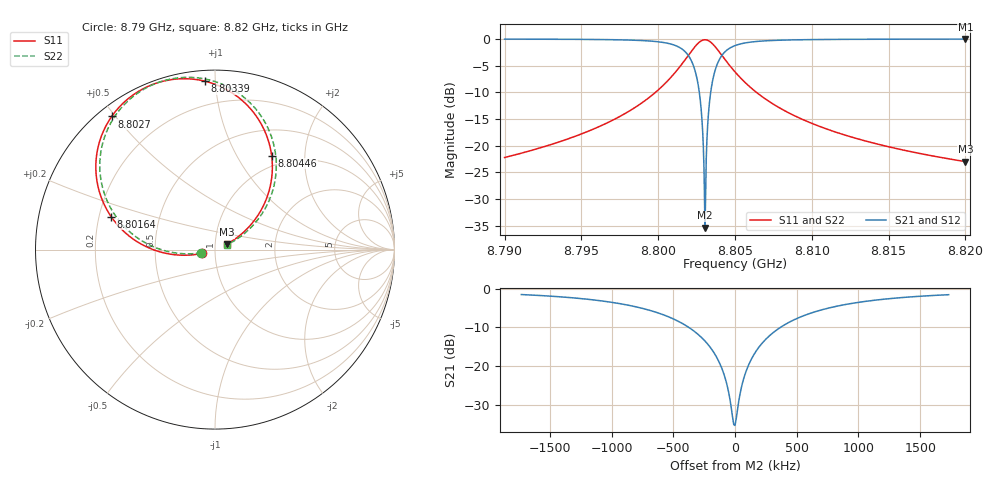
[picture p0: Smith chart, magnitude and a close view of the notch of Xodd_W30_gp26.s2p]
! Sonnet Data File
! From: emgraph Version : 16.52
! From Project: Qubit_Xmon2
! Data is De-embedded
! Data File Written: 10/18/2017 13:35:04
!< HDATE 10/18/2017 12:09:35
!< MDATE 10/18/2017 12:09:35
!< PARAMS
!< Lj = 11.0
!< Gap = 26.0
!< Pwid = 2000.0
!< Airgap = 18.0
!< Width = 30.0
!< END PARAMS
# GHZ S MA R 41.17000
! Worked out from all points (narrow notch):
!   3001 points, 8.79 GHz to 8.82 GHz, reference 41.17 ohm
!   highest |S21| = -0.02 dB at 8.82 GHz (marker M1); lowest = -35.4 dB at 8.80305 GHz (marker M2)
!   notch at M2: 35.3 dB deep, 289 kHz wide at half that depth
!   lowest |S11| = -23.0 dB at 8.82 GHz (marker M3), VSWR 1.15, Z = 46.8 + j2.75 ohm
!   |S11| at or under -10 dB: start of sweep to 8.799829 GHz; 8.806389 GHz to end of sweep
!   |S22| runs from -23.0 to -0.1 dB; largest |S21 - S12| = 0
!   S11 on the Smith chart (normalised r, x): 8.79 GHz: 0.86, -0.04; 8.80164 GHz: 0.25, +0.15; 8.8027 GHz: 0.04, +0.49; 8.80339 GHz: 0.06, +0.94; 8.80446 GHz: 0.84, +1.41; 8.82 GHz: 1.14, +0.07
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8.79  0.0773 -163.8  0.9969 -75.2  0.9969 -75.2  0.0773 -166.7
!< P1 F=8.79 Eeff=(4.89767601 -6.0965e-5) Z0=(41.1732234 -1.5591e-4) R=0.0 C=0.0
!< P2 F=8.79 Eeff=(4.89767601 -6.0965e-5) Z0=(41.1732234 -1.5591e-4) R=0.0 C=0.0
8.795  0.1286 -166.9  0.9914 -78.2  0.9914 -78.2  0.1286 -169.7
8.79802  0.2068 -171.6  0.9776 -82.7  0.9776 -82.7  0.2068 -174.3
8.8  0.3323 -179.2  0.9411 -90.2  0.9411 -90.2  0.3323 178.0
8.80097  0.4604 172.6  0.8835 -98.2  0.8835 -98.2  0.4604 169.9
8.80164  0.6074 162.4  0.7864 -108.2  0.7864 -108.2  0.6074 159.6
8.8023  0.8158 144.4  0.5583 -125.5  0.5583 -125.5  0.8158 141.7
8.8027  0.9389 127.8  0.2976 -140.5  0.2976 -140.5  0.9389 125.1
8.80283  0.9653 121.5  0.1913 -145.0  0.1913 -145.0  0.9653 118.8
8.80295  0.9797 115.4  0.08747 -145.0  0.08747 -145.0  0.9797 112.7
8.80305  0.9834 110.3  0.017 -58.7  0.017 -58.7  0.9834 107.6
8.80314  0.9799 105.7  0.08573 3.2  0.08573 3.2  0.9799 103.0
8.80327  0.9642 99.1  0.1977 3.1  0.1977 3.1  0.9642 96.4
8.80339  0.9398 93.4  0.2951 -1.1  0.2951 -1.1  0.9398 90.7
8.80356  0.8934 85.8  0.4184 -7.6  0.4184 -7.6  0.8934 83.1
8.80379  0.8188 76.9  0.5541 -15.9  0.5541 -15.9  0.8188 74.2
8.80446  0.6116 58.9  0.7833 -33.2  0.7833 -33.2  0.6116 56.2
8.805  0.4911 50.4  0.8665 -41.5  0.8665 -41.5  0.4911 47.7
8.80675  0.2887 37.5  0.956 -54.1  0.956 -54.1  0.2887 34.8
8.81  0.1616 29.9  0.9864 -61.6  0.9864 -61.6  0.1616 27.2
8.815  0.09747 26.0  0.9951 -65.3  0.9951 -65.3  0.09747 23.4
8.82  0.07074 24.4  0.9974 -66.9  0.9974 -66.9  0.07074 21.8
